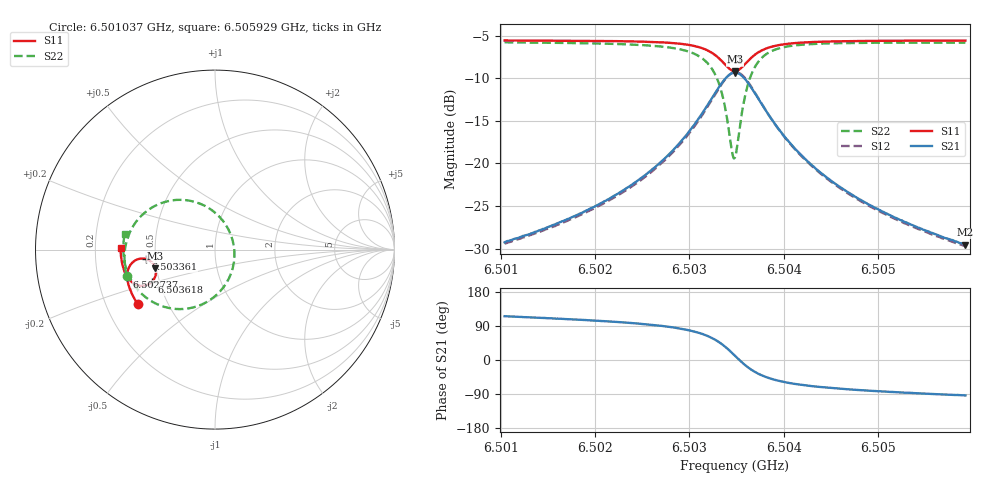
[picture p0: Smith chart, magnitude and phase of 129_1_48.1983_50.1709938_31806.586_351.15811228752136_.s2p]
#  HZ  S  RI  R  50.00
! Rohde & Schwarz Vector Network Analyzer
! Rohde-Schwarz,ZNB20-2Port,1311601062101988,3.16
! Created: UTC 3/20/2024, 11:41:49 AM
! freq[Hz]  re:S11  im:S11  re:S21  im:S21  re:S12  im:S12  re:S22  im:S22
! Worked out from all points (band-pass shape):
!   401 points, 6.501037 GHz to 6.505929 GHz, reference 50 ohm
!   highest |S21| = -9.34 dB at 6.503483 GHz (marker M1); lowest = -29.5 dB at 6.505929 GHz (marker M2)
!   |S21| within 3 dB of the highest: 6.503238 GHz to 6.503727 GHz (489.3 kHz wide, 0.00752 % of centre)
!   lowest |S11| = -9.2 dB at 6.503483 GHz (marker M3), VSWR 2.07, Z = 24.6 - j5.81 ohm
!   |S11| at or under -10 dB: nowhere
!   |S22| runs from -19.4 to -5.8 dB; largest |S21 - S12| = 0.012
!   S11 on the Smith chart (normalised r, x): 6.501037 GHz: 0.34, -0.28; 6.502737 GHz: 0.33, -0.14; 6.503361 GHz: 0.44, -0.05; 6.503618 GHz: 0.45, -0.19; 6.505929 GHz: 0.31, +0.01
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6.5010373e9  -0.4302 -0.3036  -0.0149 0.0311  -0.0131 0.0311  -0.4926 -0.1453
6.5018567e9  -0.4649 -0.2421  -0.0141 0.0493  -0.0116 0.0489  -0.5042 -0.0566
6.5023336e9  -0.481 -0.1989  -0.0106 0.0709  -0.00751 0.0695  -0.4993 0.0137
6.5026761e9  -0.4886 -0.1598  -0.00136 0.0997  0.00231 0.0972  -0.4791 0.0854
6.5027372e9  -0.4891 -0.1516  0.00189 0.1069  0.00566 0.1041  -0.4718 0.1016
6.5029574e9  -0.4855 -0.1165  0.0242 0.1425  0.0278 0.1381  -0.4252 0.1727
6.5031163e9  -0.4708 -0.0843  0.0639 0.1787  0.0668 0.1728  -0.3477 0.2364
6.5032631e9  -0.4326 -0.0546  0.1462 0.2076  0.1471 0.201  -0.1972 0.2773
6.503312e9  -0.4112 -0.0497  0.1891 0.2059  0.1895 0.2002  -0.1221 0.2682
6.5033609e9  -0.3857 -0.0519  0.2384 0.1905  0.2386 0.1856  -0.0377 0.2331
6.5034465e9  -0.3428 -0.0814  0.3171 0.115  0.3194 0.1105  0.0876 0.0841
6.5034832e9  -0.3318 -0.1037  0.3347 0.0657  0.338 0.0602  0.108 -0.0081
6.5035077e9  -0.3289 -0.12  0.3379 0.0309  0.3417 0.024  0.1053 -0.0722
6.5035444e9  -0.3312 -0.1442  0.3301 -0.0195  0.3336 -0.0286  0.0771 -0.1617
6.5036178e9  -0.3536 -0.1813  0.2829 -0.096  0.2827 -0.1076  -0.0345 -0.2849
6.5037156e9  -0.3947 -0.2008  0.2043 -0.1394  0.1992 -0.1496  -0.1948 -0.3315
6.5038746e9  -0.444 -0.1932  0.116 -0.1387  0.1087 -0.1441  -0.3557 -0.2866
6.5040458e9  -0.4733 -0.172  0.0677 -0.1176  0.0613 -0.1202  -0.4339 -0.219
6.5043026e9  -0.4958 -0.1407  0.0347 -0.0908  0.0298 -0.0913  -0.4818 -0.1409
6.5046817e9  -0.5118 -0.1006  0.0149 -0.0661  0.0115 -0.0657  -0.5049 -0.063
6.505122e9  -0.5209 -0.0593  0.00506 -0.0496  0.00287 -0.0488  -0.5108 0.00088
6.5059292e9  -0.5259 0.00938  -0.00203 -0.0333  -0.00341 -0.0325  -0.5033 0.0881
